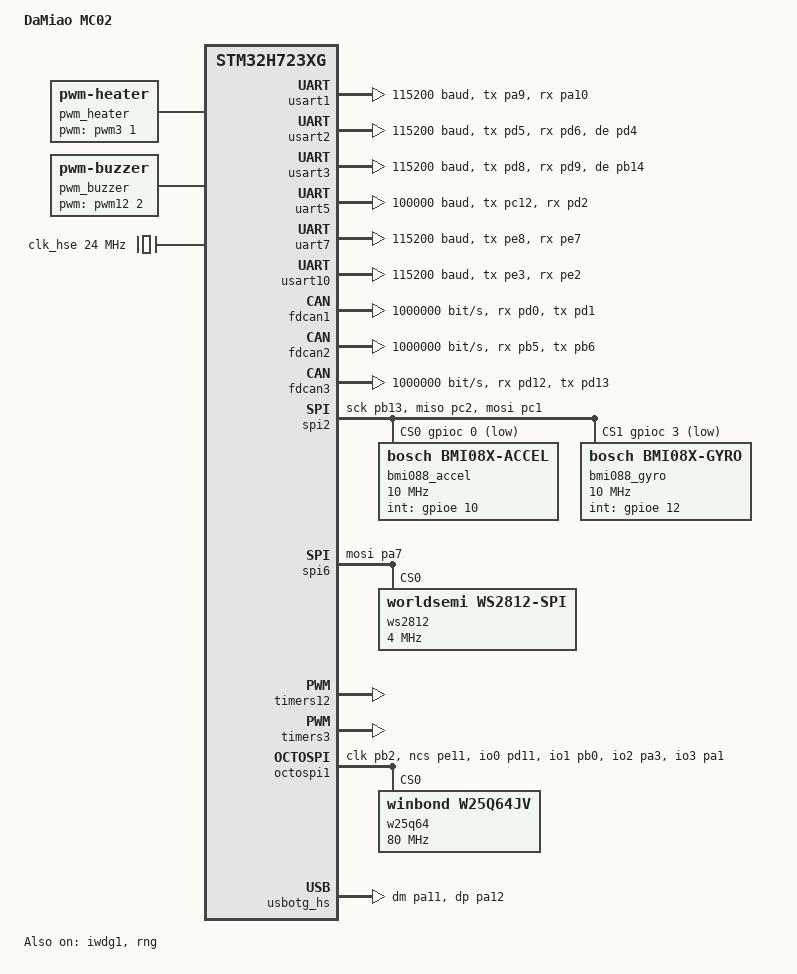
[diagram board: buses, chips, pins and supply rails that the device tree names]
/dts-v1/;
#include <st/h7/stm32h723Xg.dtsi>
#include <st/h7/stm32h723vgtx-pinctrl.dtsi>

/ {
	model = "DaMiao MC02";
	compatible = "st";

	chosen {
		zephyr,console = &usart1;
		zephyr,shell-uart = &usart1;
		zephyr,sram = &sram0;
		zephyr,flash = &flash0;
		zephyr,dtcm = &dtcm;
		zephyr,canbus = &fdcan1;
	};

	/* 别名定义，方便应用层调用 */
	aliases {
		led0 = &ws2812;      /* WS2812 RGB LED */
		accel0 = &bmi088_accel;
		gyro0 = &bmi088_gyro;
		buzzer-pwm = &pwm_buzzer;
		watchdog0 = &iwdg1;
	};

};

&clk_hse {
	clock-frequency = <DT_FREQ_M(24)>;
	status = "okay";
};

&pll {
	div-m = <2>;
	mul-n = <40>;
	div-p = <1>;
	div-q = <2>;
	div-r = <1>;
	clocks = <&clk_hse>;
	status = "okay";
};

&rcc {
	clocks = <&pll>;
	clock-frequency = <DT_FREQ_M(480)>;
	/* Prescalers: d1cpre=1, hpre=1 → CPU=480MHz; PPRE1=2→APB1=240MHz; PPRE2=2→APB2=240MHz; PPRE3=2→APB3=240MHz; PPRE4=2→APB4=240MHz */
	d1cpre = <1>;
	hpre = <2>;
	d1ppre = <2>;
	d2ppre1 = <2>;
	d2ppre2 = <2>;
	d3ppre = <2>;
};

&dma1 {
	status = "okay";
};

&dma2 {
	status = "okay";
};

&dmamux1 {
	status = "okay";
};

&usart1 {
	pinctrl-0 = <&usart1_tx_pa9 &usart1_rx_pa10>;
	pinctrl-names = "default";
	current-speed = <115200>;
	/* DMAMUX Req: RX=41, TX=42 */
	dmas = <&dmamux1 41 0 (STM32_DMA_PERIPH_RX | STM32_DMA_PRIORITY_HIGH)>,
		   <&dmamux1 42 1 (STM32_DMA_PERIPH_TX | STM32_DMA_PRIORITY_HIGH)>;
	dma-names = "rx", "tx";
	status = "okay";
};

&usart2 {
	pinctrl-0 = <&usart2_tx_pd5 &usart2_rx_pd6 &usart2_de_pd4>;
	pinctrl-names = "default";
	current-speed = <115200>;
	/* DMAMUX Req: RX=43, TX=44 */
	dmas = <&dmamux1 43 2 (STM32_DMA_PERIPH_RX | STM32_DMA_PRIORITY_MEDIUM)>,
		   <&dmamux1 44 3 (STM32_DMA_PERIPH_TX | STM32_DMA_PRIORITY_MEDIUM)>;
	dma-names = "rx", "tx";
	status = "okay";
};

/*
 * USART3 - RS485 接口 2
 * PDF: PD8 (TX), PD9 (RX), PB14 (DE)
 */
&pinctrl {
	usart3_tx_pd8: usart3_tx_pd8 {
		pinmux = <STM32_PINMUX('D', 8, AF7)>; /* USART3_TX */
		bias-disable;
		drive-push-pull;
		slew-rate = "high-speed";
	};
	usart3_rx_pd9: usart3_rx_pd9 {
		pinmux = <STM32_PINMUX('D', 9, AF7)>; /* USART3_RX */
		bias-pull-up;
	};
	usart3_de_pb14: usart3_de_pb14 {
		pinmux = <STM32_PINMUX('B', 14, AF7)>; /* USART3_DE */
		bias-disable;
		drive-push-pull;
		slew-rate = "high-speed";
	};

	/* SPI2 - BMI088 IMU */
	spi2_sck_pb13: spi2_sck_pb13 {
		pinmux = <STM32_PINMUX('B', 13, AF5)>; /* SPI2_SCK */
		bias-disable;
		drive-push-pull;
		slew-rate = "high-speed";
	};
	spi2_miso_pc2: spi2_miso_pc2 {
		pinmux = <STM32_PINMUX('C', 2, AF5)>; /* SPI2_MISO */
		bias-pull-up;
	};
	spi2_mosi_pc1: spi2_mosi_pc1 {
		pinmux = <STM32_PINMUX('C', 1, AF5)>; /* SPI2_MOSI */
		bias-disable;
		drive-push-pull;
		slew-rate = "high-speed";
	};
};

&usart3 {
	pinctrl-0 = <&usart3_tx_pd8 &usart3_rx_pd9 &usart3_de_pb14>;
	pinctrl-names = "default";
	current-speed = <115200>;
	/* DMAMUX Req: RX=45, TX=46 */
	dmas = <&dmamux1 45 4 (STM32_DMA_PERIPH_RX | STM32_DMA_PRIORITY_MEDIUM)>,
		   <&dmamux1 46 5 (STM32_DMA_PERIPH_TX | STM32_DMA_PRIORITY_MEDIUM)>;
	dma-names = "rx", "tx";
	status = "okay";
};

/*
 * USART5
 * CubeMX: PC12 (TX), PD2 (RX)
 * SBUS Port
 */
&uart5 {
	pinctrl-0 = <&uart5_tx_pc12 &uart5_rx_pd2>;
	pinctrl-names = "default";
	current-speed = <100000>;
	/* DMAMUX Req: RX=65, TX=66 */
	dmas = <&dmamux1 65 6 (STM32_DMA_PERIPH_RX | STM32_DMA_PRIORITY_LOW)>,
		   <&dmamux1 66 7 (STM32_DMA_PERIPH_TX | STM32_DMA_PRIORITY_LOW)>;
	dma-names = "rx", "tx";
	status = "okay";
};

/*
 * 5. USART7 (Header Interface)
 * PDF Page 9: PE8 (TX), PE7 (RX)
 */
&uart7 {
	pinctrl-0 = <&uart7_tx_pe8 &uart7_rx_pe7>;
	pinctrl-names = "default";
	current-speed = <115200>;
	/* DMAMUX Req: RX=79, TX=80 */
	/* 使用 DMA2 以分散负载 */
	dmas = <&dmamux1 79 0 (STM32_DMA_PERIPH_RX | STM32_DMA_PRIORITY_LOW)>,
		   <&dmamux1 80 1 (STM32_DMA_PERIPH_TX | STM32_DMA_PRIORITY_LOW)>;
	dma-names = "rx", "tx";
	status = "okay";
};

&uart8 {
	pinctrl-0 = <&uart8_tx_pe1 &uart8_rx_pe0>;
	pinctrl-names = "default";
	current-speed = <115200>;
	/* DMAMUX Req: RX=81, TX=82 */
	dmas = <&dmamux1 81 2 (STM32_DMA_PERIPH_RX | STM32_DMA_PRIORITY_LOW)>,
		   <&dmamux1 82 3 (STM32_DMA_PERIPH_TX | STM32_DMA_PRIORITY_LOW)>;
	dma-names = "rx", "tx";
	status = "disabled";
};

&uart9 {
	pinctrl-0 = <&uart9_tx_pd15 &uart9_rx_pd14>;
	pinctrl-names = "default";
	current-speed = <115200>;
	/* DMAMUX Req: RX=115, TX=116 */
	dmas = <&dmamux1 115 4 (STM32_DMA_PERIPH_RX | STM32_DMA_PRIORITY_LOW)>,
		   <&dmamux1 116 5 (STM32_DMA_PERIPH_TX | STM32_DMA_PRIORITY_LOW)>;
	dma-names = "rx", "tx";
	status = "disabled";
};

&usart10 {
	pinctrl-0 = <&usart10_tx_pe3 &usart10_rx_pe2>;
	pinctrl-names = "default";
	current-speed = <115200>;
	/* DMAMUX Req: RX=117, TX=118 */
	dmas = <&dmamux1 117 6 (STM32_DMA_PERIPH_RX | STM32_DMA_PRIORITY_LOW)>,
		   <&dmamux1 118 7 (STM32_DMA_PERIPH_TX | STM32_DMA_PRIORITY_LOW)>;
	dma-names = "rx", "tx";
	status = "okay";
};

&fdcan1 {
	pinctrl-0 = <&fdcan1_rx_pd0 &fdcan1_tx_pd1>;
	pinctrl-names = "default";
	bitrate = <1000000>;
	bitrate-data = <5000000>;
	status = "okay";
};

&fdcan2 {
	pinctrl-0 = <&fdcan2_rx_pb5 &fdcan2_tx_pb6>;
	pinctrl-names = "default";
	bitrate = <1000000>;
	bitrate-data = <5000000>;
	status = "okay";
};

&fdcan3 {
	pinctrl-0 = <&fdcan3_rx_pd12 &fdcan3_tx_pd13>;
	pinctrl-names = "default";
	bitrate = <1000000>;
	bitrate-data = <5000000>;
	status = "okay";
};

&spi2 {
	pinctrl-0 = <&spi2_sck_pb13 &spi2_miso_pc2 &spi2_mosi_pc1>;
	pinctrl-names = "default";
	status = "okay";

	/* CS 引脚: Accel=PC0, Gyro=PC3 */
	cs-gpios = <&gpioc 0 GPIO_ACTIVE_LOW>, <&gpioc 3 GPIO_ACTIVE_LOW>;

	bmi088_accel: bmi08x_accel@0 {
		compatible = "bosch,bmi08x-accel";
		reg = <0>;
		spi-max-frequency = <10000000>;
		/* INT1 连接到 PE10 */
		int-gpios = <&gpioe 10 GPIO_ACTIVE_HIGH>;
		accel-hz = "800";
		accel-fs = <6>;

		int1-map-io = <0x01>; /* 数据就绪中断映射到 INT1 */
		int1-conf-io = <0x0A>; /* 推挽输出，有效高电平 */

		data-sync = <&bmi088_gyro>;
	};

	bmi088_gyro: bmi08x_gyro@1 {
		compatible = "bosch,bmi08x-gyro";
		reg = <1>;
		spi-max-frequency = <10000000>;
		/* INT3 连接到 PE12 */
		int-gpios = <&gpioe 12 GPIO_ACTIVE_HIGH>;
		gyro-hz = "1000_116";
		gyro-fs = <1000>;

		int3-4-map-io = <1>; /* 数据就绪中断映射到 INT3 */
		int3-4-conf-io = <1>; /* 有效高电平，推挽输出 */

		data-sync;
	};
};

/* WS2812 LED - 使用 SPI6 MOSI (PA7) 模拟驱动 */
&spi6 {
	pinctrl-0 = <&spi6_mosi_pa7>; /* 仅需 MOSI */
	pinctrl-names = "default";
	status = "okay";

	ws2812: ws2812@0 {
		compatible = "worldsemi,ws2812-spi";
		reg = <0>;
		spi-max-frequency = <4000000>; /* WS2812 时序要求 */
		chain-length = <1>; /* 板载只有 1 颗灯 */
		spi-one-frame = <0x70>;
		spi-zero-frame = <0x40>;
		color-mapping = <1 0 2>; /* GRB 顺序 */
	};
};

&timers12 {
	status = "okay";
	st,prescaler = <23>;

	pwm12: pwm {
		status = "okay";
		pinctrl-0 = <&tim12_ch2_pb15>;
		pinctrl-names = "default";
	};
};

&timers3 {
	status = "okay";
	st,prescaler = <23>;

	pwm3: pwm {
		status = "okay";
		pinctrl-0 = <&tim3_ch4_pb1>;
		pinctrl-names = "default";
	};
};

/ {
	pwm_heater: pwm-heater {
		compatible = "pwm-heater";
		pwms = <&pwm3 1 PWM_USEC(100) PWM_POLARITY_NORMAL>;
		temp-sensor = <&bmi088_accel>;
		temp-channel = <12>; /* SENSOR_CHAN_DIE_TEMP */
		status = "okay";
	};
};

/ {
	pwm_buzzer: pwm-buzzer {
		compatible = "pwm-buzzer";
		pwms = <&pwm12 2 PWM_MSEC(1) PWM_POLARITY_NORMAL>;
		base-frequency-hz = <4000>;
		status = "okay";
	};
};

/* QSPI Flash (W25Q64) - OCTOSPI1 Port 1
 * 引脚: CS=PE11, CLK=PB2, IO0=PD11, IO1=PB0, IO2=PA3, IO3=PA1
 */
&octospi1 {
	pinctrl-0 = <&octospim_p1_clk_pb2 &octospim_p1_ncs_pe11
				 &octospim_p1_io0_pd11 &octospim_p1_io1_pb0
				 &octospim_p1_io2_pa3 &octospim_p1_io3_pa1>;
	pinctrl-names = "default";
	status = "okay";

	w25q64: w25q64jv@0 {
		compatible = "winbond,w25q64jv", "jedec,spi-nor";
		reg = <0>;
		spi-max-frequency = <80000000>;
		size = <0x800000>; /* 8MB */
		jedec-id = [ef 40 17];
	};
};

/* USB OTG */
&usbotg_hs {
	/* H723 usually has HS core but often used with FS PHY on PA11/PA12 */
	pinctrl-0 = <&usb_otg_hs_dm_pa11 &usb_otg_hs_dp_pa12>;
	pinctrl-names = "default";
	status = "okay";
};

&iwdg1 {
	status = "okay";
};

&rng {
	status = "okay";
};

&pwr {
	power-supply = "ldo";
};
